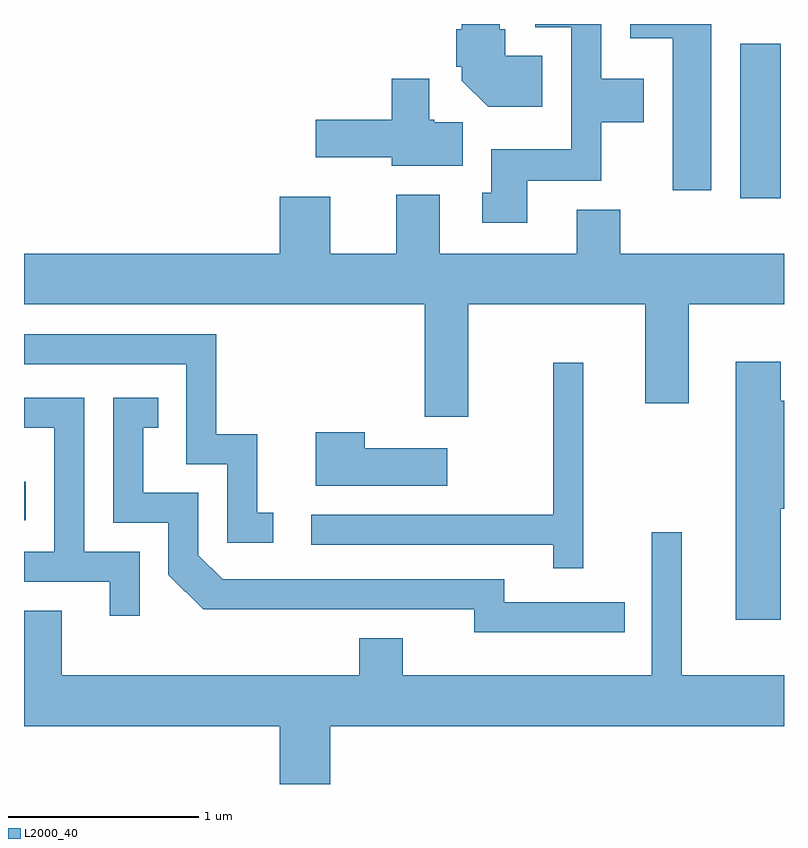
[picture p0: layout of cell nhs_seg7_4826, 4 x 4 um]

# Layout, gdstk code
import gdstk
lib = gdstk.Library(unit=1e-6, precision=1e-09)
def R(c, l, rs):  # rectangles x0, y0, x1, y1
    for r in rs: c.add(gdstk.rectangle(r[:2], r[2:], *l))
def P(c, l, *ps):  # polygons
    for p in ps: c.add(gdstk.Polygon(p, *l))
L2000_40 = (2000, 40)

nhs_seg7_4826 = lib.new_cell('nhs_seg7_4826')
R(nhs_seg7_4826, L2000_40, [(333.611,1697.641,333.619,1697.844), (337.381,1699.336,337.594,1700.149)])
P(nhs_seg7_4826, L2000_40, [(336.259,1699.426),(336.649,1699.426),(336.649,1699.736),(336.874,1699.736),(336.874,1699.964),(336.649,1699.964),(336.649,1700.252),(336.303,1700.252),(336.303,1700.236),(336.491,1700.236),(336.491,1699.594),(336.071,1699.594),(336.071,1699.364),(336.023,1699.364),(336.023,1699.206),(336.259,1699.206)],
  [(336.339,1700.084),(336.144,1700.084),(336.144,1700.224),(336.114,1700.224),(336.114,1700.252),(335.916,1700.252),(335.916,1700.224),(335.886,1700.224),(335.886,1700.026),(335.916,1700.026),(335.916,1699.954),(336.054,1699.816),(336.339,1699.816)],
  [(337.229,1700.252),(336.801,1700.252),(336.801,1700.176),(337.026,1700.176),(337.026,1699.376),(337.229,1699.376)],
  [(335.919,1699.734),(335.77,1699.734),(335.77,1699.749),(335.744,1699.749),(335.744,1699.964),(335.546,1699.964),(335.546,1699.749),(335.146,1699.749),(335.146,1699.551),(335.546,1699.551),(335.546,1699.506),(335.919,1699.506)],
  [(335.949,1698.776),(336.881,1698.776),(336.881,1698.256),(337.109,1698.256),(337.109,1698.776),(337.611,1698.776),(337.611,1699.044),(336.749,1699.044),(336.749,1699.274),(336.521,1699.274),(336.521,1699.044),(335.799,1699.044),(335.799,1699.354),(335.571,1699.354),(335.571,1699.044),(335.224,1699.044),(335.224,1699.344),(334.956,1699.344),(334.956,1699.044),(333.611,1699.044),(333.611,1698.776),(335.721,1698.776),(335.721,1698.186),(335.949,1698.186)],
  [(334.923,1697.679),(334.839,1697.679),(334.839,1698.094),(334.624,1698.094),(334.624,1698.619),(333.611,1698.619),(333.611,1698.461),(334.466,1698.461),(334.466,1697.936),(334.681,1697.936),(334.681,1697.521),(334.923,1697.521)],
  [(337.594,1697.701),(337.611,1697.701),(337.611,1698.269),(337.594,1698.269),(337.594,1698.474),(337.356,1698.474),(337.356,1697.116),(337.594,1697.116)],
  [(336.554,1698.468),(336.396,1698.468),(336.396,1697.669),(335.123,1697.669),(335.123,1697.511),(336.396,1697.511),(336.396,1697.388),(336.554,1697.388)],
  [(334.219,1697.474),(333.929,1697.474),(333.929,1698.284),(333.611,1698.284),(333.611,1698.126),(333.771,1698.126),(333.771,1697.474),(333.611,1697.474),(333.611,1697.316),(334.061,1697.316),(334.061,1697.138),(334.219,1697.138)],
  [(336.773,1697.209),(336.139,1697.209),(336.139,1697.329),(334.657,1697.329),(334.529,1697.457),(334.529,1697.784),(334.239,1697.784),(334.239,1698.126),(334.318,1698.126),(334.318,1698.284),(334.081,1698.284),(334.081,1697.626),(334.371,1697.626),(334.371,1697.354),(334.554,1697.171),(335.981,1697.171),(335.981,1697.051),(336.773,1697.051)],
  [(335.839,1698.019),(335.404,1698.019),(335.404,1698.104),(335.146,1698.104),(335.146,1697.821),(335.839,1697.821)],
  [(335.224,1696.556),(337.611,1696.556),(337.611,1696.824),(337.074,1696.824),(337.074,1697.578),(336.916,1697.578),(336.916,1696.824),(335.604,1696.824),(335.604,1697.019),(335.376,1697.019),(335.376,1696.824),(333.809,1696.824),(333.809,1697.164),(333.611,1697.164),(333.611,1696.556),(334.956,1696.556),(334.956,1696.252),(335.224,1696.252)])

lib.write_gds('nhs_seg7_4826.gds')
